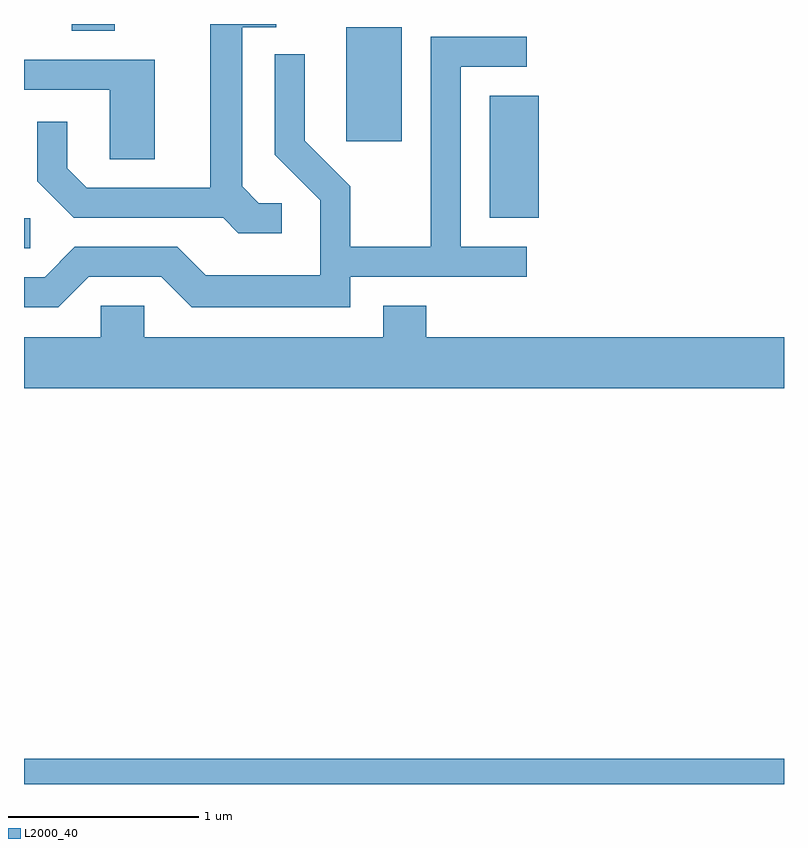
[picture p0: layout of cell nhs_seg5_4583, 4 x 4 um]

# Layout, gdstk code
import gdstk
lib = gdstk.Library(unit=1e-6, precision=1e-09)
def R(c, l, rs):  # rectangles x0, y0, x1, y1
    for r in rs: c.add(gdstk.rectangle(r[:2], r[2:], *l))
def P(c, l, *ps):  # polygons
    for p in ps: c.add(gdstk.Polygon(p, *l))
L2000_40 = (2000, 40)

nhs_seg5_4583 = lib.new_cell('nhs_seg5_4583')
R(nhs_seg5_4583, L2000_40, [(321.611,1428.072,325.611,1428.204), (321.611,1430.891,321.643,1431.049), (324.061,1431.051,324.319,1431.694), (323.306,1431.456,323.599,1432.054), (321.861,1432.036,322.089,1432.072)])
P(nhs_seg5_4583, L2000_40, [(322.968,1431.129),(322.847,1431.129),(322.759,1431.217),(322.759,1432.056),(322.938,1432.056),(322.938,1432.072),(322.591,1432.072),(322.591,1431.209),(321.942,1431.209),(321.839,1431.312),(321.839,1431.558),(321.681,1431.558),(321.681,1431.244),(321.874,1431.051),(322.659,1431.051),(322.739,1430.971),(322.968,1430.971)],
  [(321.952,1430.741),(322.334,1430.741),(322.494,1430.581),(323.329,1430.581),(323.329,1430.741),(324.258,1430.741),(324.258,1430.899),(323.909,1430.899),(323.909,1431.846),(324.258,1431.846),(324.258,1432.004),(323.751,1432.004),(323.751,1430.899),(323.329,1430.899),(323.329,1431.217),(323.089,1431.457),(323.089,1431.913),(322.931,1431.913),(322.931,1431.384),(323.171,1431.144),(323.171,1430.749),(322.567,1430.749),(322.417,1430.899),(321.879,1430.899),(321.719,1430.739),(321.611,1430.739),(321.611,1430.581),(321.792,1430.581)],
  [(322.299,1431.884),(321.611,1431.884),(321.611,1431.726),(322.061,1431.726),(322.061,1431.361),(322.299,1431.361)],
  [(325.611,1430.424),(323.729,1430.424),(323.729,1430.589),(323.501,1430.589),(323.501,1430.424),(322.244,1430.424),(322.244,1430.589),(322.016,1430.589),(322.016,1430.424),(321.611,1430.424),(321.611,1430.156),(325.611,1430.156)])

lib.write_gds('nhs_seg5_4583.gds')
